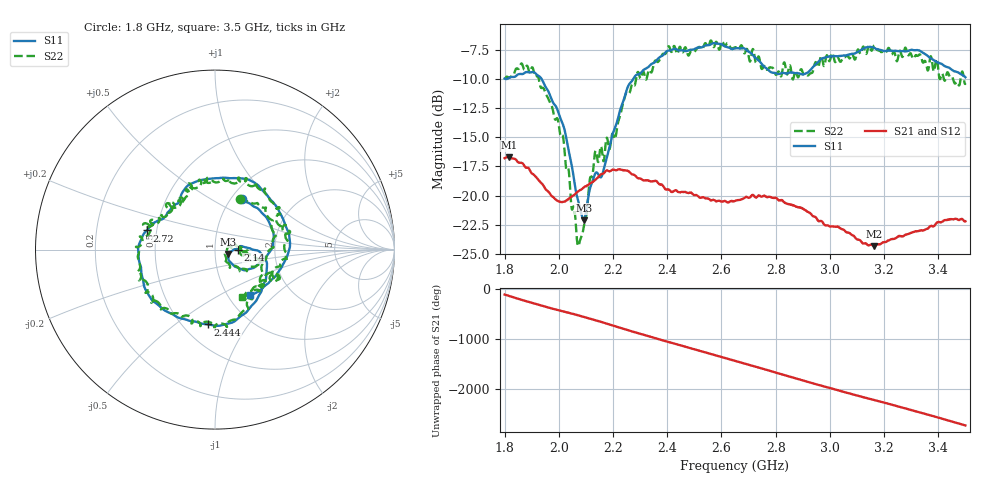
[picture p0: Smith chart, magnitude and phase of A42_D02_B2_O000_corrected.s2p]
! Created with skrf 1.9.0 (http://scikit-rf.org).
# Hz S RI R 50.0
!freq ReS11 ImS11 ReS21 ImS21 ReS12 ImS12 ReS22 ImS22
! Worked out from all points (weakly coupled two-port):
!   1601 points, 1.8 GHz to 3.5 GHz, reference 50 ohm
!   highest |S21| = -16.70 dB at 1.817 GHz (marker M1); lowest = -24.3 dB at 3.163 GHz (marker M2)
!   lowest |S11| = -22.1 dB at 2.092 GHz (marker M3), VSWR 1.17, Z = 57.9 - j2.91 ohm
!   |S11| at or under -10 dB: 1.802275 GHz to 1.809719 GHz (7.445 MHz wide, 0.412 % of centre); 1.936 GHz to 2.275 GHz (338.5 MHz wide, 16.1 % of centre)
!   |S22| runs from -24.3 to -6.7 dB; largest |S21 - S12| = 0.0025
!   S11 on the Smith chart (normalised r, x): 1.8 GHz: 1.12, +0.70; 2.14 GHz: 1.29, -0.00; 2.444 GHz: 0.66, -0.67; 2.72 GHz: 0.44, +0.11; 3.5 GHz: 1.26, -0.72
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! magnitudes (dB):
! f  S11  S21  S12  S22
! 1.8 GHz  -10.0  -16.8  -16.8  -10.0
! 1.817 GHz  -9.9  -16.7  -16.7  -9.9
! 1.902 GHz  -9.4  -18.1  -18.1  -9.0
! 1.966 GHz  -11.3  -19.8  -19.9  -12.0
! 2.02 GHz  -14.2  -20.5  -20.5  -15.8
! 2.07 GHz  -20.3  -19.7  -19.7  -24.3
! 2.084 GHz  -21.6  -19.5  -19.4  -23.5
! 2.092 GHz  -22.1  -19.3  -19.4  -22.7
! 2.14 GHz  -18.0  -18.5  -18.5  -16.5
! 2.161 GHz  -18.1  -18.1  -18.1  -16.5
! 2.208 GHz  -14.2  -17.8  -17.8  -15.1
! 2.259 GHz  -10.5  -17.9  -17.9  -11.2
! 2.367 GHz  -8.2  -19.0  -18.9  -8.5
! 2.444 GHz  -7.6  -19.7  -19.7  -7.4
! 2.65 GHz  -7.4  -20.5  -20.4  -7.3
! 2.72 GHz  -8.1  -20.0  -19.9  -7.8
! 2.805 GHz  -9.6  -20.3  -20.3  -9.6
! 2.934 GHz  -9.1  -21.7  -21.7  -9.5
! 3.163 GHz  -7.3  -24.3  -24.3  -7.1
! 3.217 GHz  -7.6  -23.8  -23.8  -7.4
! 3.328 GHz  -7.6  -23.0  -23.0  -8.0
! 3.5 GHz  -9.9  -22.2  -22.2  -10.4
